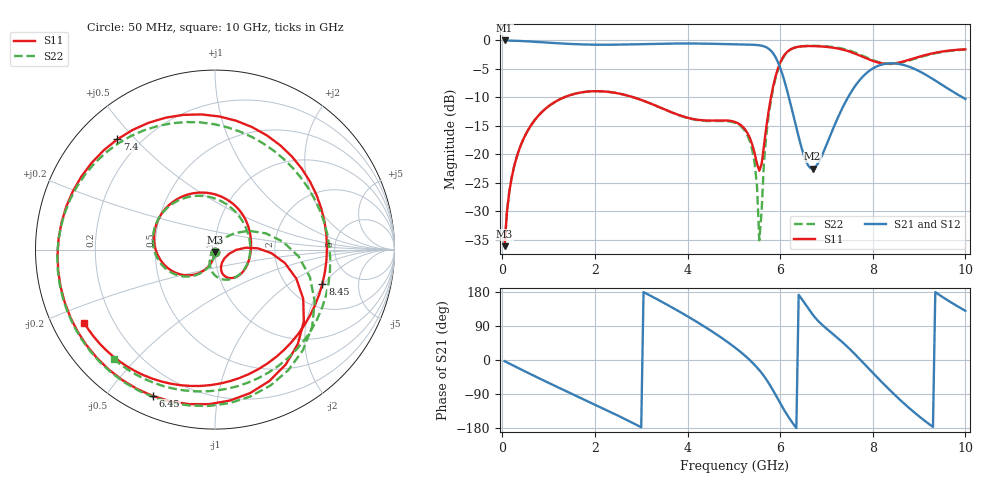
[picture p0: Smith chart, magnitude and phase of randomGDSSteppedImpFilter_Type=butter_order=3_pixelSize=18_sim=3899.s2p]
! freq	dB(S11)	phase(S11)	dB(S12)	phase(S12)
!  dB(S21)	phase(S21)	dB(S22)	phase(S22)
!S-par simulation data
#  GHz  S  DB  R 50
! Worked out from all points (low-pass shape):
!   200 points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, 50 MHz to 10 GHz, reference 50 ohm
!   highest |S21| = -0.01 dB at 50 MHz (marker M1); lowest = -22.5 dB at 6.7 GHz (marker M2)
!   |S21| within 3 dB of the highest: start of sweep to 5.904 GHz
!   lowest |S11| = -36.1 dB at 50 MHz (marker M3), VSWR 1.03, Z = 49.9 - j1.56 ohm
!   |S11| at or under -10 dB: start of sweep to 1.331 GHz; 2.838 GHz to 5.801 GHz (2.963 GHz wide, 68.6 % of centre)
!   |S22| runs from -36.1 to -0.9 dB; largest |S21 - S12| = 0
!   S11 on the Smith chart (normalised r, x): 50 MHz: 1.00, -0.03; 6.45 GHz: 0.09, -0.66; 7.4 GHz: 0.12, +0.45; 8.45 GHz: 3.06, -1.93; 10 GHz: 0.10, -0.26
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0.05  -36.12 -92.9  -0.01 -3.1  -0.01 -3.1  -36.11 -92.7
0.2  -24.19 -102.8  -0.04 -12.4  -0.04 -12.4  -24.19 -102.1
0.5  -16.58 -122.0  -0.14 -30.6  -0.14 -30.6  -16.58 -120.2
1.75  -9.07 162.6  -0.71 -103.4  -0.71 -103.4  -9.07 169.5
2.7  -9.67 104.7  -0.71 -159.0  -0.71 -159.0  -9.67 116.7
3.4  -11.74 58.7  -0.58 156.6  -0.58 156.6  -11.76 74.4
4.3  -14.00 -1.6  -0.56 93.1  -0.56 93.1  -14.07 8.6
5.05  -14.39 -54.2  -0.69 30.5  -0.69 30.5  -14.55 -61.3
5.4  -18.34 -73.5  -0.76 -6.7  -0.76 -6.7  -19.32 -103.3
5.55  -22.88 -42.0  -0.85 -26.7  -0.85 -26.7  -35.09 -153.6
5.7  -15.29 3.5  -1.20 -51.1  -1.20 -51.1  -16.69 39.5
5.85  -8.03 -10.9  -2.28 -80.8  -2.28 -80.8  -8.37 6.7
6.05  -3.09 -48.8  -5.97 -124.6  -5.97 -124.6  -3.20 -38.5
6.45  -1.05 -113.0  -18.49 163.7  -18.49 163.7  -1.05 -105.7
6.7  -0.99 -143.4  -22.51 120.3  -22.51 120.3  -0.95 -135.3
7.05  -1.18 176.0  -17.34 77.9  -17.34 77.9  -1.08 -172.3
7.4  -1.72 131.5  -10.97 40.9  -10.97 40.9  -1.56 149.8
7.75  -2.76 80.7  -6.66 -1.7  -6.66 -1.7  -2.57 108.7
8.35  -4.10 -5.4  -4.03 -77.3  -4.03 -77.3  -4.12 33.8
8.45  -4.04 -17.7  -4.02 -89.1  -4.02 -89.1  -4.10 21.1
9.25  -2.34 -96.2  -6.54 -172.2  -6.54 -172.2  -2.43 -71.3
10  -1.56 -150.9  -10.27 129.8  -10.27 129.8  -1.61 -132.8
